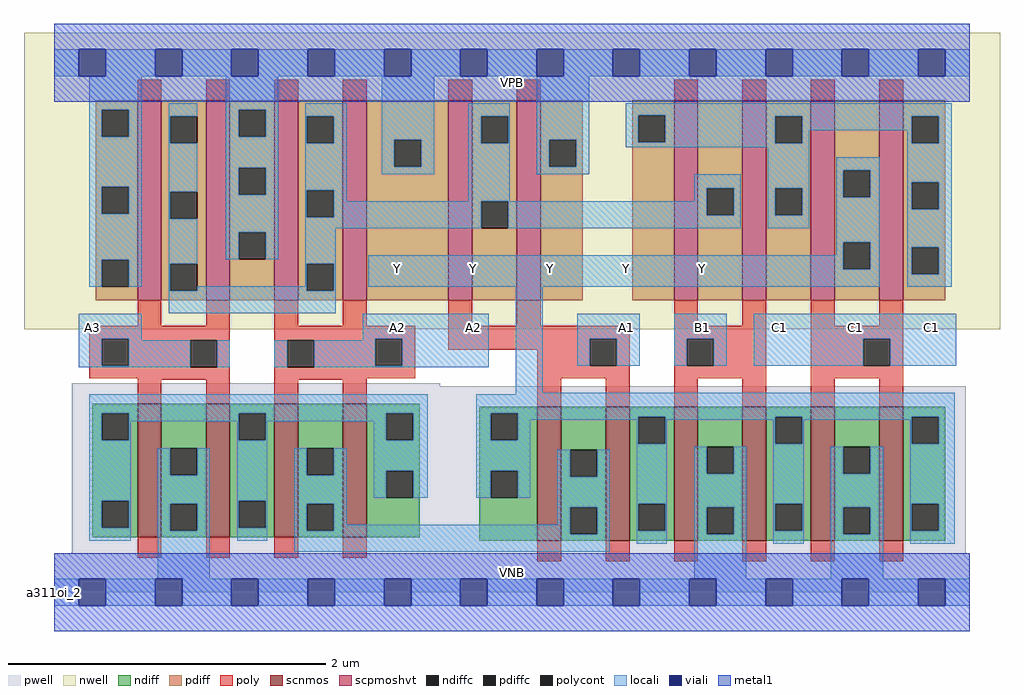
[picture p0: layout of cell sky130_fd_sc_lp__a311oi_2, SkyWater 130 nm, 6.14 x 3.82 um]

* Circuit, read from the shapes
.subckt sky130_fd_sc_lp__a311oi_2 A1 A2 A3 B1 C1 VGND VNB VPB VPWR Y
XM1 VGND A3 n1 VNB sky130_fd_pr__nfet_01v8 w=0.84 l=0.15 m=2
XM2 n2 A2 n1 VNB sky130_fd_pr__nfet_01v8 w=0.84 l=0.15 m=2
XM3 n2 A1 Y VNB sky130_fd_pr__nfet_01v8 w=0.84 l=0.15 m=2
XM4 VGND B1 Y VNB sky130_fd_pr__nfet_01v8 w=0.84 l=0.15 m=2
XM5 VGND C1 Y VNB sky130_fd_pr__nfet_01v8 w=0.84 l=0.15 m=2
XM6 n3 A3 VPWR VPB sky130_fd_pr__pfet_01v8_hvt w=1.26 l=0.15 m=2
XM7 n3 A2 VPWR VPB sky130_fd_pr__pfet_01v8_hvt w=1.26 l=0.15 m=2
XM8 n3 A1 VPWR VPB sky130_fd_pr__pfet_01v8_hvt w=1.26 l=0.15 m=2
XM9 n3 B1 n4 VPB sky130_fd_pr__pfet_01v8_hvt w=1.26 l=0.15 m=2
XM10 Y C1 n4 VPB sky130_fd_pr__pfet_01v8_hvt w=1.26 l=0.15 m=2
.ends

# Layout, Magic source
magic
tech sky130A
magscale 1 2
<< nwell >>
rect -38 331 1190 704
<< pwell >>
rect 22 259 486 263
rect 22 49 1147 259
rect 0 0 1152 49
<< scnmos >>
rect 105 69 135 237
rect 191 69 221 237
rect 277 69 307 237
rect 363 69 393 237
rect 608 65 638 233
rect 694 65 724 233
rect 780 65 810 233
rect 866 65 896 233
rect 952 65 982 233
rect 1038 65 1068 233
<< scpmoshvt >>
rect 105 367 135 619
rect 191 367 221 619
rect 277 367 307 619
rect 363 367 393 619
rect 496 367 526 619
rect 582 367 612 619
rect 780 367 810 619
rect 866 367 896 619
rect 952 367 982 619
rect 1038 367 1068 619
<< ndiff >>
rect 48 225 105 237
rect 48 191 60 225
rect 94 191 105 225
rect 48 115 105 191
rect 48 81 60 115
rect 94 81 105 115
rect 48 69 105 81
rect 135 181 191 237
rect 135 147 146 181
rect 180 147 191 181
rect 135 111 191 147
rect 135 77 146 111
rect 180 77 191 111
rect 135 69 191 77
rect 221 225 277 237
rect 221 191 232 225
rect 266 191 277 225
rect 221 115 277 191
rect 221 81 232 115
rect 266 81 277 115
rect 221 69 277 81
rect 307 181 363 237
rect 307 147 318 181
rect 352 147 363 181
rect 307 111 363 147
rect 307 77 318 111
rect 352 77 363 111
rect 307 69 363 77
rect 393 225 460 237
rect 393 191 418 225
rect 452 191 460 225
rect 393 153 460 191
rect 393 119 418 153
rect 452 119 460 153
rect 393 69 460 119
rect 535 225 608 233
rect 535 191 549 225
rect 583 191 608 225
rect 535 153 608 191
rect 535 119 549 153
rect 583 119 608 153
rect 535 65 608 119
rect 638 179 694 233
rect 638 145 649 179
rect 683 145 694 179
rect 638 107 694 145
rect 638 73 649 107
rect 683 73 694 107
rect 638 65 694 73
rect 724 221 780 233
rect 724 187 735 221
rect 769 187 780 221
rect 724 111 780 187
rect 724 77 735 111
rect 769 77 780 111
rect 724 65 780 77
rect 810 183 866 233
rect 810 149 821 183
rect 855 149 866 183
rect 810 107 866 149
rect 810 73 821 107
rect 855 73 866 107
rect 810 65 866 73
rect 896 221 952 233
rect 896 187 907 221
rect 941 187 952 221
rect 896 111 952 187
rect 896 77 907 111
rect 941 77 952 111
rect 896 65 952 77
rect 982 183 1038 233
rect 982 149 993 183
rect 1027 149 1038 183
rect 982 107 1038 149
rect 982 73 993 107
rect 1027 73 1038 107
rect 982 65 1038 73
rect 1068 221 1121 233
rect 1068 187 1079 221
rect 1113 187 1121 221
rect 1068 111 1121 187
rect 1068 77 1079 111
rect 1113 77 1121 111
rect 1068 65 1121 77
<< pdiff >>
rect 52 607 105 619
rect 52 573 60 607
rect 94 573 105 607
rect 52 510 105 573
rect 52 476 60 510
rect 94 476 105 510
rect 52 418 105 476
rect 52 384 60 418
rect 94 384 105 418
rect 52 367 105 384
rect 135 599 191 619
rect 135 565 146 599
rect 180 565 191 599
rect 135 504 191 565
rect 135 470 146 504
rect 180 470 191 504
rect 135 413 191 470
rect 135 379 146 413
rect 180 379 191 413
rect 135 367 191 379
rect 221 607 277 619
rect 221 573 232 607
rect 266 573 277 607
rect 221 534 277 573
rect 221 500 232 534
rect 266 500 277 534
rect 221 453 277 500
rect 221 419 232 453
rect 266 419 277 453
rect 221 367 277 419
rect 307 599 363 619
rect 307 565 318 599
rect 352 565 363 599
rect 307 506 363 565
rect 307 472 318 506
rect 352 472 363 506
rect 307 413 363 472
rect 307 379 318 413
rect 352 379 363 413
rect 307 367 363 379
rect 393 569 496 619
rect 393 535 428 569
rect 462 535 496 569
rect 393 367 496 535
rect 526 599 582 619
rect 526 565 537 599
rect 571 565 582 599
rect 526 492 582 565
rect 526 458 537 492
rect 571 458 582 492
rect 526 367 582 458
rect 612 569 665 619
rect 612 535 623 569
rect 657 535 665 569
rect 612 367 665 535
rect 727 600 780 619
rect 727 566 735 600
rect 769 566 780 600
rect 727 367 780 566
rect 810 508 866 619
rect 810 474 821 508
rect 855 474 866 508
rect 810 367 866 474
rect 896 599 952 619
rect 896 565 907 599
rect 941 565 952 599
rect 896 508 952 565
rect 896 474 907 508
rect 941 474 952 508
rect 896 367 952 474
rect 982 531 1038 619
rect 982 497 993 531
rect 1027 497 1038 531
rect 982 440 1038 497
rect 982 406 993 440
rect 1027 406 1038 440
rect 982 367 1038 406
rect 1068 599 1121 619
rect 1068 565 1079 599
rect 1113 565 1121 599
rect 1068 516 1121 565
rect 1068 482 1079 516
rect 1113 482 1121 516
rect 1068 434 1121 482
rect 1068 400 1079 434
rect 1113 400 1121 434
rect 1068 367 1121 400
<< ndiffc >>
rect 60 191 94 225
rect 60 81 94 115
rect 146 147 180 181
rect 146 77 180 111
rect 232 191 266 225
rect 232 81 266 115
rect 318 147 352 181
rect 318 77 352 111
rect 418 191 452 225
rect 418 119 452 153
rect 549 191 583 225
rect 549 119 583 153
rect 649 145 683 179
rect 649 73 683 107
rect 735 187 769 221
rect 735 77 769 111
rect 821 149 855 183
rect 821 73 855 107
rect 907 187 941 221
rect 907 77 941 111
rect 993 149 1027 183
rect 993 73 1027 107
rect 1079 187 1113 221
rect 1079 77 1113 111
<< pdiffc >>
rect 60 573 94 607
rect 60 476 94 510
rect 60 384 94 418
rect 146 565 180 599
rect 146 470 180 504
rect 146 379 180 413
rect 232 573 266 607
rect 232 500 266 534
rect 232 419 266 453
rect 318 565 352 599
rect 318 472 352 506
rect 318 379 352 413
rect 428 535 462 569
rect 537 565 571 599
rect 537 458 571 492
rect 623 535 657 569
rect 735 566 769 600
rect 821 474 855 508
rect 907 565 941 599
rect 907 474 941 508
rect 993 497 1027 531
rect 993 406 1027 440
rect 1079 565 1113 599
rect 1079 482 1113 516
rect 1079 400 1113 434
<< poly >>
rect 105 619 135 645
rect 191 619 221 645
rect 277 619 307 645
rect 363 619 393 645
rect 496 619 526 645
rect 582 619 612 645
rect 780 619 810 645
rect 866 619 896 645
rect 952 619 982 645
rect 1038 619 1068 645
rect 105 335 135 367
rect 191 335 221 367
rect 44 319 221 335
rect 44 285 60 319
rect 94 317 221 319
rect 94 285 171 317
rect 44 283 171 285
rect 205 283 221 317
rect 44 269 221 283
rect 105 267 221 269
rect 105 237 135 267
rect 191 237 221 267
rect 277 335 307 367
rect 363 335 393 367
rect 496 335 526 367
rect 582 335 612 367
rect 780 335 810 367
rect 866 335 896 367
rect 277 319 454 335
rect 277 317 404 319
rect 277 283 293 317
rect 327 285 404 317
rect 438 285 454 319
rect 496 319 724 335
rect 496 305 674 319
rect 327 283 454 285
rect 277 269 454 283
rect 608 285 674 305
rect 708 285 724 319
rect 608 269 724 285
rect 277 267 393 269
rect 277 237 307 267
rect 363 237 393 267
rect 608 233 638 269
rect 694 233 724 269
rect 780 319 896 335
rect 780 285 796 319
rect 830 285 896 319
rect 780 269 896 285
rect 780 233 810 269
rect 866 233 896 269
rect 952 335 982 367
rect 1038 335 1068 367
rect 952 319 1068 335
rect 952 285 1018 319
rect 1052 285 1068 319
rect 952 269 1068 285
rect 952 233 982 269
rect 1038 233 1068 269
rect 105 43 135 69
rect 191 43 221 69
rect 277 43 307 69
rect 363 43 393 69
rect 608 39 638 65
rect 694 39 724 65
rect 780 39 810 65
rect 866 39 896 65
rect 952 39 982 65
rect 1038 39 1068 65
<< polycont >>
rect 60 285 94 319
rect 171 283 205 317
rect 293 283 327 317
rect 404 285 438 319
rect 674 285 708 319
rect 796 285 830 319
rect 1018 285 1052 319
<< locali >>
rect 0 649 31 683
rect 65 649 127 683
rect 161 649 223 683
rect 257 649 319 683
rect 353 649 415 683
rect 449 649 511 683
rect 545 649 607 683
rect 641 649 703 683
rect 737 649 799 683
rect 833 649 895 683
rect 929 649 991 683
rect 1025 649 1087 683
rect 1121 649 1152 683
rect 44 607 110 649
rect 44 573 60 607
rect 94 573 110 607
rect 44 510 110 573
rect 44 476 60 510
rect 94 476 110 510
rect 44 418 110 476
rect 44 384 60 418
rect 94 384 110 418
rect 144 599 180 615
rect 144 565 146 599
rect 144 504 180 565
rect 144 470 146 504
rect 144 413 180 470
rect 216 607 282 649
rect 216 573 232 607
rect 266 573 282 607
rect 216 534 282 573
rect 216 500 232 534
rect 266 500 282 534
rect 216 453 282 500
rect 216 419 232 453
rect 266 419 282 453
rect 316 599 368 615
rect 316 565 318 599
rect 352 565 368 599
rect 316 506 368 565
rect 412 569 478 649
rect 412 535 428 569
rect 462 535 478 569
rect 412 526 478 535
rect 521 599 573 615
rect 521 565 537 599
rect 571 565 573 599
rect 316 472 318 506
rect 352 492 368 506
rect 521 492 573 565
rect 607 569 673 649
rect 607 535 623 569
rect 657 535 673 569
rect 719 600 1129 615
rect 719 566 735 600
rect 769 599 1129 600
rect 769 566 907 599
rect 719 565 907 566
rect 941 581 1079 599
rect 941 565 950 581
rect 719 560 950 565
rect 607 526 673 535
rect 805 508 864 526
rect 805 492 821 508
rect 352 472 537 492
rect 316 458 537 472
rect 571 474 821 492
rect 855 474 864 508
rect 571 458 864 474
rect 898 508 950 560
rect 1073 565 1079 581
rect 1113 565 1129 599
rect 898 474 907 508
rect 941 474 950 508
rect 898 458 950 474
rect 984 531 1039 547
rect 984 497 993 531
rect 1027 497 1039 531
rect 144 379 146 413
rect 316 413 354 458
rect 984 440 1039 497
rect 984 424 993 440
rect 316 385 318 413
rect 180 379 318 385
rect 352 379 354 413
rect 395 406 993 424
rect 1027 406 1039 440
rect 395 384 1039 406
rect 1073 516 1129 565
rect 1073 482 1079 516
rect 1113 482 1129 516
rect 1073 434 1129 482
rect 1073 400 1079 434
rect 1113 400 1129 434
rect 1073 384 1129 400
rect 144 351 354 379
rect 31 319 110 350
rect 31 285 60 319
rect 94 317 110 319
rect 388 319 547 350
rect 388 317 404 319
rect 94 285 171 317
rect 31 283 171 285
rect 205 283 221 317
rect 277 283 293 317
rect 327 285 404 317
rect 438 285 547 319
rect 327 283 547 285
rect 581 251 615 384
rect 658 319 737 350
rect 658 285 674 319
rect 708 285 737 319
rect 780 319 846 350
rect 780 285 796 319
rect 830 285 846 319
rect 880 319 1135 350
rect 880 285 1018 319
rect 1052 285 1135 319
rect 581 249 1133 251
rect 44 225 470 249
rect 44 191 60 225
rect 94 215 232 225
rect 94 191 96 215
rect 44 115 96 191
rect 230 191 232 215
rect 266 215 418 225
rect 266 191 268 215
rect 44 81 60 115
rect 94 81 96 115
rect 44 65 96 81
rect 130 147 146 181
rect 180 147 196 181
rect 130 111 196 147
rect 130 77 146 111
rect 180 77 196 111
rect 130 17 196 77
rect 230 115 268 191
rect 402 191 418 215
rect 452 191 470 225
rect 230 81 232 115
rect 266 81 268 115
rect 230 65 268 81
rect 302 147 318 181
rect 352 147 368 181
rect 302 111 368 147
rect 402 153 470 191
rect 402 119 418 153
rect 452 119 470 153
rect 531 225 1133 249
rect 531 191 549 225
rect 583 221 1133 225
rect 583 217 735 221
rect 583 191 599 217
rect 531 153 599 191
rect 733 187 735 217
rect 769 217 907 221
rect 769 187 771 217
rect 531 119 549 153
rect 583 119 599 153
rect 633 145 649 179
rect 683 145 699 179
rect 302 77 318 111
rect 352 85 368 111
rect 633 107 699 145
rect 633 85 649 107
rect 352 77 649 85
rect 302 73 649 77
rect 683 73 699 107
rect 302 51 699 73
rect 733 111 771 187
rect 905 187 907 217
rect 941 217 1079 221
rect 941 187 943 217
rect 733 77 735 111
rect 769 77 771 111
rect 733 61 771 77
rect 805 149 821 183
rect 855 149 871 183
rect 805 107 871 149
rect 805 73 821 107
rect 855 73 871 107
rect 805 17 871 73
rect 905 111 943 187
rect 1077 187 1079 217
rect 1113 187 1133 221
rect 905 77 907 111
rect 941 77 943 111
rect 905 61 943 77
rect 977 149 993 183
rect 1027 149 1043 183
rect 977 107 1043 149
rect 977 73 993 107
rect 1027 73 1043 107
rect 977 17 1043 73
rect 1077 111 1133 187
rect 1077 77 1079 111
rect 1113 77 1133 111
rect 1077 61 1133 77
rect 0 -17 31 17
rect 65 -17 127 17
rect 161 -17 223 17
rect 257 -17 319 17
rect 353 -17 415 17
rect 449 -17 511 17
rect 545 -17 607 17
rect 641 -17 703 17
rect 737 -17 799 17
rect 833 -17 895 17
rect 929 -17 991 17
rect 1025 -17 1087 17
rect 1121 -17 1152 17
<< viali >>
rect 31 649 65 683
rect 127 649 161 683
rect 223 649 257 683
rect 319 649 353 683
rect 415 649 449 683
rect 511 649 545 683
rect 607 649 641 683
rect 703 649 737 683
rect 799 649 833 683
rect 895 649 929 683
rect 991 649 1025 683
rect 1087 649 1121 683
rect 31 -17 65 17
rect 127 -17 161 17
rect 223 -17 257 17
rect 319 -17 353 17
rect 415 -17 449 17
rect 511 -17 545 17
rect 607 -17 641 17
rect 703 -17 737 17
rect 799 -17 833 17
rect 895 -17 929 17
rect 991 -17 1025 17
rect 1087 -17 1121 17
<< metal1 >>
rect 0 683 1152 715
rect 0 649 31 683
rect 65 649 127 683
rect 161 649 223 683
rect 257 649 319 683
rect 353 649 415 683
rect 449 649 511 683
rect 545 649 607 683
rect 641 649 703 683
rect 737 649 799 683
rect 833 649 895 683
rect 929 649 991 683
rect 1025 649 1087 683
rect 1121 649 1152 683
rect 0 617 1152 649
rect 0 17 1152 49
rect 0 -17 31 17
rect 65 -17 127 17
rect 161 -17 223 17
rect 257 -17 319 17
rect 353 -17 415 17
rect 449 -17 511 17
rect 545 -17 607 17
rect 641 -17 703 17
rect 737 -17 799 17
rect 833 -17 895 17
rect 929 -17 991 17
rect 1025 -17 1087 17
rect 1121 -17 1152 17
rect 0 -49 1152 -17
<< labels >>
flabel pwell s 0 0 1152 49 0 FreeSans 200 0 0 0 VNB
port 7 nsew ground bidirectional
flabel nwell s 0 617 1152 666 0 FreeSans 200 0 0 0 VPB
port 8 nsew power bidirectional
rlabel comment s 0 0 0 0 4 a311oi_2
flabel metal1 s 0 617 1152 666 0 FreeSans 340 0 0 0 VPWR
port 9 nsew power bidirectional
flabel metal1 s 0 0 1152 49 0 FreeSans 340 0 0 0 VGND
port 6 nsew ground bidirectional
flabel locali s 415 390 449 424 0 FreeSans 340 0 0 0 Y
port 10 nsew signal output
flabel locali s 511 390 545 424 0 FreeSans 340 0 0 0 Y
port 10 nsew signal output
flabel locali s 607 390 641 424 0 FreeSans 340 0 0 0 Y
port 10 nsew signal output
flabel locali s 703 390 737 424 0 FreeSans 340 0 0 0 Y
port 10 nsew signal output
flabel locali s 799 390 833 424 0 FreeSans 340 0 0 0 Y
port 10 nsew signal output
flabel locali s 703 316 737 350 0 FreeSans 340 0 0 0 A1
port 1 nsew signal input
flabel locali s 415 316 449 350 0 FreeSans 340 0 0 0 A2
port 2 nsew signal input
flabel locali s 511 316 545 350 0 FreeSans 340 0 0 0 A2
port 2 nsew signal input
flabel locali s 31 316 65 350 0 FreeSans 340 0 0 0 A3
port 3 nsew signal input
flabel locali s 799 316 833 350 0 FreeSans 340 0 0 0 B1
port 4 nsew signal input
flabel locali s 895 316 929 350 0 FreeSans 340 0 0 0 C1
port 5 nsew signal input
flabel locali s 991 316 1025 350 0 FreeSans 340 0 0 0 C1
port 5 nsew signal input
flabel locali s 1087 316 1121 350 0 FreeSans 340 0 0 0 C1
port 5 nsew signal input
<< properties >>
string LEFsite unit
string LEFclass CORE
string FIXED_BBOX 0 0 1152 666
string GDS_FILE $PDKPATH/libs.ref/sky130_fd_sc_lp/gds/sky130_fd_sc_lp.gds
string LEFsymmetry X Y R90
string GDS_END 3237326
string GDS_START 3226858
<< end >>
